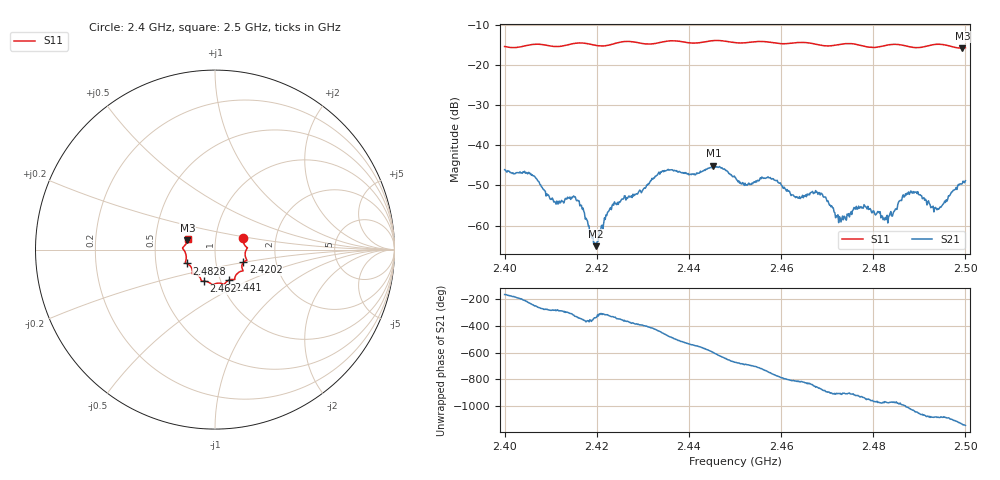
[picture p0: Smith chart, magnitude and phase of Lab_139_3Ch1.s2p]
# Hz S RI R 50
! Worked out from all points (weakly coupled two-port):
!   601 points, 2.4 GHz to 2.5 GHz, reference 50 ohm
!   highest |S21| = -45.13 dB at 2.4453 GHz (marker M1); lowest = -65.1 dB at 2.4198 GHz (marker M2)
!   lowest |S11| = -15.8 dB at 2.4993 GHz (marker M3), VSWR 1.39, Z = 36.5 + j3.85 ohm
!   |S11| at or under -10 dB: start of sweep to end of sweep
!   S12 and S22 are empty: the file has one direction only
!   S11 on the Smith chart (normalised r, x): 2.4 GHz: 1.36, +0.18; 2.4202 GHz: 1.36, -0.20; 2.441 GHz: 1.10, -0.39; 2.462 GHz: 0.84, -0.30; 2.4828 GHz: 0.72, -0.11; 2.5 GHz: 0.73, +0.09
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2.4e9  0.1574 0.063  -0.00475 -0.00142  0 0  0 0
2.405667e9  0.1783 0.0123  -0.00267 0.00355  0 0  0 0
2.411167e9  0.1682 -0.0184  0.000484 0.00178  0 0  0 0
2.416667e9  0.1778 -0.0602  0.00173 0.000418  0 0  0 0
2.419833e9  0.1606 -0.0684  0.000508 0.000218  0 0  0 0
2.420167e9  0.1583 -0.0706  0.000459 0.000434  0 0  0 0
2.423333e9  0.1502 -0.1006  0.00153 0.000911  0 0  0 0
2.433333e9  0.1121 -0.1508  0.00107 -0.00433  0 0  0 0
2.441e9  0.0784 -0.1696  -0.00431 0.000332  0 0  0 0
2.445333e9  0.0523 -0.1939  -0.00268 0.00485  0 0  0 0
2.45e9  0.0285 -0.187  0.00272 0.00292  0 0  0 0
2.457667e9  -0.0226 -0.1899  0.00337 -0.00207  0 0  0 0
2.462e9  -0.0605 -0.1755  2.21e-05 -0.00251  0 0  0 0
2.466667e9  -0.0779 -0.1683  -0.00134 -0.00225  0 0  0 0
2.473e9  -0.1204 -0.1351  -0.00108 0.000257  0 0  0 0
2.477833e9  -0.1261 -0.1169  -0.00129 0.00101  0 0  0 0
2.482833e9  -0.1578 -0.0771  -0.000319 0.00115  0 0  0 0
2.483333e9  -0.1609 -0.0758  -0.000275 0.00127  0 0  0 0
2.488167e9  -0.1601 -0.0472  0.00165 0.00213  0 0  0 0
2.494333e9  -0.1806 0.00915  0.00161 -0.000274  0 0  0 0
2.499333e9  -0.1533 0.0513  0.00172 -0.00286  0 0  0 0
2.5e9  -0.1518 0.0611  0.00131 -0.00337  0 0  0 0
